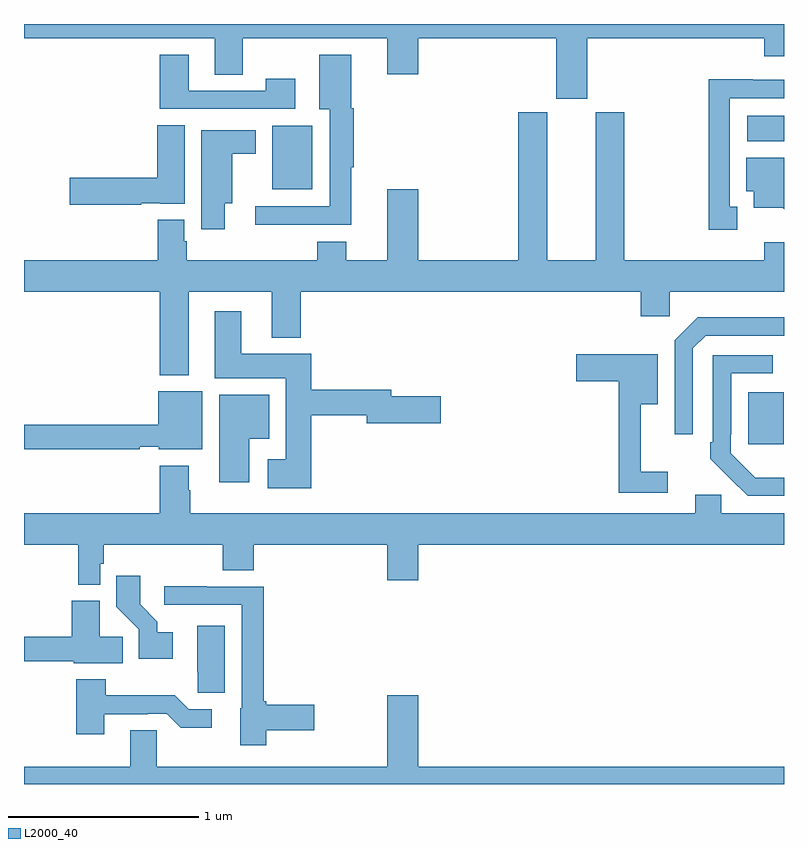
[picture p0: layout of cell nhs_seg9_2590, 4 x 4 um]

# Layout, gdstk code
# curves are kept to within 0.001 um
import gdstk
lib = gdstk.Library(unit=1e-6, precision=1e-09)
def R(c, l, rs):  # rectangles x0, y0, x1, y1
    for r in rs: c.add(gdstk.rectangle(r[:2], r[2:], *l))
def P(c, l, *ps):  # polygons
    for p in ps: c.add(gdstk.Polygon(p, *l))
L2000_40 = (2000, 40)

nhs_seg9_2590 = lib.new_cell('nhs_seg9_2590')
R(nhs_seg9_2590, L2000_40, [(262.811,1190.289,262.999,1190.563), (260.306,1191.629,260.518,1191.964), (262.806,1191.884,263,1192.018)])
P(nhs_seg9_2590, L2000_40, [(261.964,1192.424),(262.895,1192.424),(262.895,1192.331),(263,1192.331),(263,1192.5),(259,1192.5),(259,1192.424),(260.003,1192.424),(260.003,1192.234),(260.151,1192.234),(260.151,1192.424),(260.912,1192.424),(260.912,1192.236),(261.076,1192.236),(261.076,1192.424),(261.8,1192.424),(261.8,1192.107),(261.964,1192.107)],
  [(260.722,1191.747),(260.735,1191.747),(260.735,1192.056),(260.722,1192.056),(260.722,1192.339),(260.555,1192.339),(260.555,1192.052),(260.609,1192.052),(260.609,1191.54),(260.217,1191.54),(260.217,1191.443),(260.722,1191.443)],
  [(260.428,1192.213),(260.272,1192.213),(260.272,1192.149),(259.867,1192.149),(259.867,1192.339),(259.715,1192.339),(259.715,1192.053),(260.428,1192.053)],
  [(262.753,1191.537),(262.714,1191.537),(262.714,1192.11),(263,1192.11),(263,1192.206),(262.836,1192.206),(262.836,1192.208),(262.603,1192.208),(262.603,1191.417),(262.753,1191.417)],
  [(259.867,1191.092),(260.303,1191.092),(260.303,1190.849),(260.456,1190.849),(260.456,1191.092),(262.247,1191.092),(262.247,1190.961),(262.398,1190.961),(262.398,1191.092),(263,1191.092),(263,1191.352),(262.895,1191.352),(262.895,1191.256),(262.158,1191.256),(262.158,1192.035),(262.01,1192.035),(262.01,1191.256),(261.754,1191.256),(261.754,1192.035),(261.602,1192.035),(261.602,1191.256),(261.076,1191.256),(261.076,1191.631),(260.912,1191.631),(260.912,1191.256),(260.695,1191.256),(260.695,1191.355),(260.543,1191.355),(260.543,1191.256),(259.856,1191.256),(259.856,1191.357),(259.843,1191.357),(259.843,1191.469),(259.703,1191.469),(259.703,1191.256),(259,1191.256),(259,1191.092),(259.715,1191.092),(259.715,1190.651),(259.867,1190.651)],
  [(259.616,1191.557),(259.716,1191.557),(259.716,1191.554),(259.846,1191.554),(259.846,1191.968),(259.7,1191.968),(259.7,1191.692),(259.242,1191.692),(259.242,1191.55),(259.616,1191.55)],
  [(260.056,1191.557),(260.095,1191.557),(260.095,1191.818),(260.221,1191.818),(260.221,1191.94),(259.934,1191.94),(259.934,1191.42),(260.056,1191.42)],
  [(263,1191.796),(262.802,1191.796),(262.802,1191.62),(262.841,1191.62),(262.841,1191.533),(262.993,1191.533),(263,1191.526)],
  [(260.513,1190.44),(260.804,1190.44),(260.804,1190.398),(261.193,1190.398),(261.193,1190.54),(260.932,1190.54),(260.932,1190.576),(260.513,1190.576),(260.513,1190.764),(260.143,1190.764),(260.143,1190.989),(260.003,1190.989),(260.003,1190.636),(260.378,1190.636),(260.378,1190.209),(260.283,1190.209),(260.283,1190.057),(260.513,1190.057)],
  [(262.521,1190.793),(262.587,1190.859),(263,1190.859),(263,1190.956),(262.546,1190.956),(262.425,1190.835),(262.425,1190.34),(262.521,1190.34)],
  [(262.387,1190.143),(262.247,1190.143),(262.247,1190.498),(262.336,1190.498),(262.336,1190.763),(261.906,1190.763),(261.906,1190.621),(262.129,1190.621),(262.129,1190.034),(262.387,1190.034)],
  [(263,1190.112),(262.848,1190.113),(262.719,1190.241),(262.719,1190.341),(262.722,1190.341),(262.722,1190.661),(262.942,1190.661),(262.942,1190.757),(262.626,1190.757),(262.626,1190.299),(262.611,1190.299),(262.611,1190.211),(262.808,1190.016),(263,1190.016)],
  [(259.939,1190.566),(259.706,1190.566),(259.706,1190.39),(259,1190.39),(259,1190.262),(259.61,1190.262),(259.61,1190.274),(259.71,1190.274),(259.71,1190.261),(259.939,1190.261)],
  [(260.185,1190.318),(260.29,1190.318),(260.29,1190.548),(260.027,1190.548),(260.027,1190.088),(260.185,1190.088)],
  [(259.401,1189.659),(259.421,1189.659),(259.421,1189.76),(260.045,1189.76),(260.045,1189.624),(260.21,1189.624),(260.21,1189.76),(260.912,1189.76),(260.912,1189.572),(261.076,1189.572),(261.076,1189.76),(263,1189.76),(263,1189.924),(262.671,1189.924),(262.671,1190.022),(262.532,1190.022),(262.532,1189.924),(259.875,1189.924),(259.875,1190.045),(259.867,1190.045),(259.867,1190.176),(259.715,1190.176),(259.715,1189.924),(259,1189.924),(259,1189.76),(259.285,1189.76),(259.285,1189.55),(259.401,1189.55)],
  [(259.783,1189.3),(259.702,1189.3),(259.702,1189.355),(259.612,1189.445),(259.612,1189.597),(259.486,1189.597),(259.486,1189.434),(259.605,1189.315),(259.605,1189.16),(259.783,1189.16)],
  [(260.274,1188.782),(260.527,1188.782),(260.527,1188.917),(260.274,1188.917),(260.274,1188.935),(260.261,1188.935),(260.261,1189.539),(259.961,1189.539),(259.961,1189.542),(259.737,1189.542),(259.737,1189.443),(260.145,1189.443),(260.145,1188.9),(260.138,1188.9),(260.138,1188.704),(260.274,1188.704)],
  [(259.52,1189.274),(259.399,1189.274),(259.399,1189.465),(259.25,1189.465),(259.25,1189.276),(259,1189.276),(259,1189.147),(259.262,1189.147),(259.262,1189.136),(259.52,1189.136)],
  [(260.056,1189.333),(259.913,1189.333),(259.913,1189.09),(259.914,1189.09),(259.914,1188.979),(260.056,1188.979)],
  [(259.423,1188.867),(259.652,1188.867),(259.652,1188.87),(259.752,1188.87),(259.825,1188.797),(259.987,1188.797),(259.987,1188.894),(259.866,1188.894),(259.793,1188.967),(259.431,1188.967),(259.431,1189.051),(259.276,1189.051),(259.276,1188.762),(259.423,1188.762)],
  [(263,1188.592),(261.076,1188.592),(261.076,1188.967),(260.912,1188.967),(260.912,1188.592),(259.698,1188.592),(259.698,1188.782),(259.559,1188.782),(259.559,1188.592),(259,1188.592),(259,1188.5),(263,1188.5)])

lib.write_gds('nhs_seg9_2590.gds')
